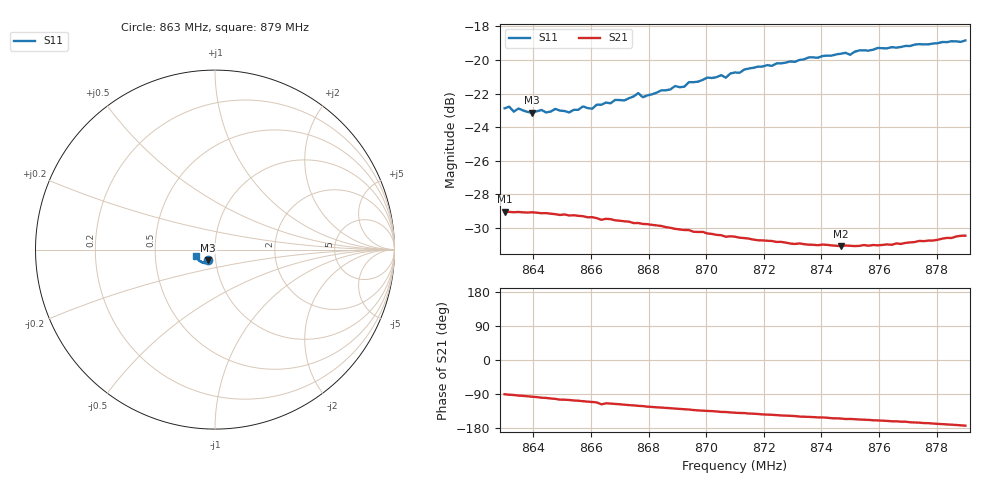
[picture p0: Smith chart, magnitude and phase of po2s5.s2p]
# HZ S RI R 50
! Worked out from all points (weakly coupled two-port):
!   101 points, 863 MHz to 879 MHz, reference 50 ohm
!   highest |S21| = -29.02 dB at 863 MHz (marker M1); lowest = -31.1 dB at 874.68 MHz (marker M2)
!   lowest |S11| = -23.1 dB at 863.96 MHz (marker M3), VSWR 1.15, Z = 46 - j5.37 ohm
!   |S11| at or under -10 dB: start of sweep to end of sweep
!   S12 and S22 are empty: the file has one direction only
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8.63e8  -0.041 -0.0589  -0.000183 -0.0354  0 0  0 0
8.6316e8  -0.042 -0.0592  -0.00101 -0.0353  0 0  0 0
8.6396e8  -0.0384 -0.0581  -0.00426 -0.035  0 0  0 0
8.6476e8  -0.0371 -0.0611  -0.00758 -0.0339  0 0  0 0
8.6524e8  -0.0358 -0.0599  -0.00919 -0.0332  0 0  0 0
8.6572e8  -0.0359 -0.0633  -0.011 -0.0325  0 0  0 0
8.6604e8  -0.0345 -0.0627  -0.0121 -0.0319  0 0  0 0
8.6684e8  -0.0373 -0.0662  -0.0146 -0.03  0 0  0 0
8.6716e8  -0.0363 -0.0665  -0.0155 -0.0293  0 0  0 0
8.6764e8  -0.0398 -0.069  -0.0168 -0.0281  0 0  0 0
8.678e8  -0.0387 -0.0671  -0.0171 -0.0277  0 0  0 0
8.6844e8  -0.0416 -0.0697  -0.0186 -0.0261  0 0  0 0
8.6924e8  -0.0436 -0.0709  -0.02 -0.0239  0 0  0 0
8.694e8  -0.0455 -0.0728  -0.0203 -0.0237  0 0  0 0
8.7004e8  -0.0488 -0.0739  -0.0213 -0.0218  0 0  0 0
8.7052e8  -0.0515 -0.0739  -0.022 -0.0206  0 0  0 0
8.7068e8  -0.05 -0.0731  -0.0219 -0.0202  0 0  0 0
8.71e8  -0.0545 -0.0739  -0.0225 -0.0195  0 0  0 0
8.7372e8  -0.0731 -0.0707  -0.0246 -0.0138  0 0  0 0
8.7468e8  -0.0807 -0.0661  -0.0252 -0.012  0 0  0 0
8.7644e8  -0.0935 -0.0562  -0.0268 -0.00881  0 0  0 0
8.79e8  -0.1085 -0.0356  -0.0298 -0.00354  0 0  0 0
